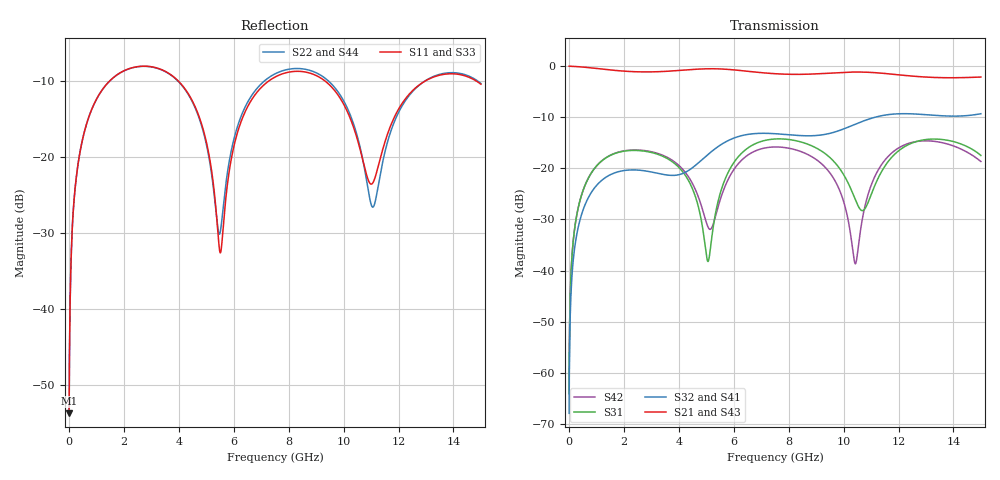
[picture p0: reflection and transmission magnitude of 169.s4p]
! Created with skrf 1.8.0 (http://scikit-rf.org).
# GHz S RI R 50.0
!freq ReS11 ImS11 ReS12 ImS12 ReS13 ImS13
! ReS14 ImS14
! ReS21 ImS21 ReS22 ImS22 ReS23 ImS23
! ReS24 ImS24
! ReS31 ImS31 ReS32 ImS32 ReS33 ImS33
! ReS34 ImS34
! ReS41 ImS41 ReS42 ImS42 ReS43 ImS43
! ReS44 ImS44
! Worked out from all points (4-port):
!   2499 points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, 5 MHz to 15 GHz, reference 50 ohm
!   strongest paths, dB at 5 MHz, 3.476 GHz, 7.19 GHz, 11.1 GHz, 15 GHz:
!     S21: 0.0, -1.0, -1.4, -1.3, -2.1
!     S43: 0.0, -1.0, -1.4, -1.3, -2.1
!     S32: -67.9, -21.2, -13.2, -10.1, -9.3
!     S41: -67.9, -21.3, -13.2, -10.1, -9.3
!     S31: -64.1, -17.8, -14.5, -23.9, -17.5
!     S42: -64.1, -17.6, -16.0, -22.1, -18.7
!   lowest |S11| = -53.8 dB at 5 MHz (marker M1), VSWR 1.00, Z = 50.2 + j0.125 ohm
!   |S11| at or under -10 dB: start of sweep to 1.481 GHz; 3.981 GHz to 7.274 GHz (3.294 GHz wide, 58.5 % of centre); 9.324 GHz to 12.97 GHz (3.648 GHz wide, 32.7 % of centre) (the widest 3 of 4)
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0.005  0.00163 0.00124  0.9983 -0.00318  8.1e-05 0.000621  -7.89e-05 -0.000393
       0.9983 -0.00318  0.00163 0.00124  -7.89e-05 -0.000393  8.11e-05 0.000621
       8.1e-05 0.000621  -7.89e-05 -0.000393  0.00163 0.00124  0.9983 -0.00318
       -7.89e-05 -0.000393  8.11e-05 0.000621  0.9983 -0.00318  0.00163 0.00124
0.3126303  0.0239 0.0819  0.9675 -0.1978  0.0105 0.0369  -0.00882 -0.0231
           0.9675 -0.1978  0.0238 0.0819  -0.00882 -0.0231  0.0106 0.0369
           0.0105 0.0369  -0.00882 -0.0231  0.0238 0.0819  0.9675 -0.1978
           -0.00882 -0.0231  0.0106 0.0369  0.9675 -0.1978  0.0238 0.0819
1.519383  0.264 0.183  0.5656 -0.7207  0.1193 0.0618  -0.0864 -0.00896
          0.5656 -0.7207  0.2634 0.1833  -0.0865 -0.00893  0.1213 0.0592
          0.1193 0.0618  -0.0865 -0.00893  0.264 0.183  0.5655 -0.7207
          -0.0864 -0.00896  0.1213 0.0592  0.5655 -0.7207  0.2635 0.1832
5.345977  0.0258 -0.039  -0.9296 -0.1462  0.0181 0.0328  -0.0213 0.1558
          -0.9296 -0.1462  0.0325 -0.0309  -0.0206 0.1558  -0.0234 0.0258
          0.0181 0.0328  -0.0206 0.1558  0.0265 -0.04  -0.9295 -0.1464
          -0.0213 0.1558  -0.0234 0.0258  -0.9295 -0.1464  0.0322 -0.0321
8.553564  0.3626 -0.0284  0.0182 0.8313  0.1332 -0.1174  0.1977 -0.0655
          0.0182 0.8313  0.3756 -0.0521  0.1974 -0.0666  0.1295 -0.0585
          0.1332 -0.1174  0.1974 -0.0666  0.3623 -0.0302  0.019 0.8313
          0.1977 -0.0655  0.1295 -0.0585  0.019 0.8313  0.3758 -0.0511
10.42935  0.1035 -0.1005  0.7645 0.4249  -0.0408 -0.0278  0.1253 -0.2395
          0.7645 0.4249  0.089 -0.1226  0.124 -0.2402  -0.0116 -0.00105
          -0.0408 -0.0278  0.124 -0.2402  0.102 -0.1036  0.7647 0.4241
          0.1253 -0.2395  -0.0116 -0.00105  0.7647 0.4241  0.092 -0.1232
15  0.2772 -0.1181  -0.3197 -0.7129  0.00447 -0.1336  -0.2996 0.1646
    -0.3197 -0.7129  0.2738 -0.1341  -0.298 0.168  0.000762 -0.1167
    0.00447 -0.1336  -0.298 0.168  0.2688 -0.1145  -0.3262 -0.713
    -0.2996 0.1646  0.000762 -0.1167  -0.3262 -0.713  0.2648 -0.1337
